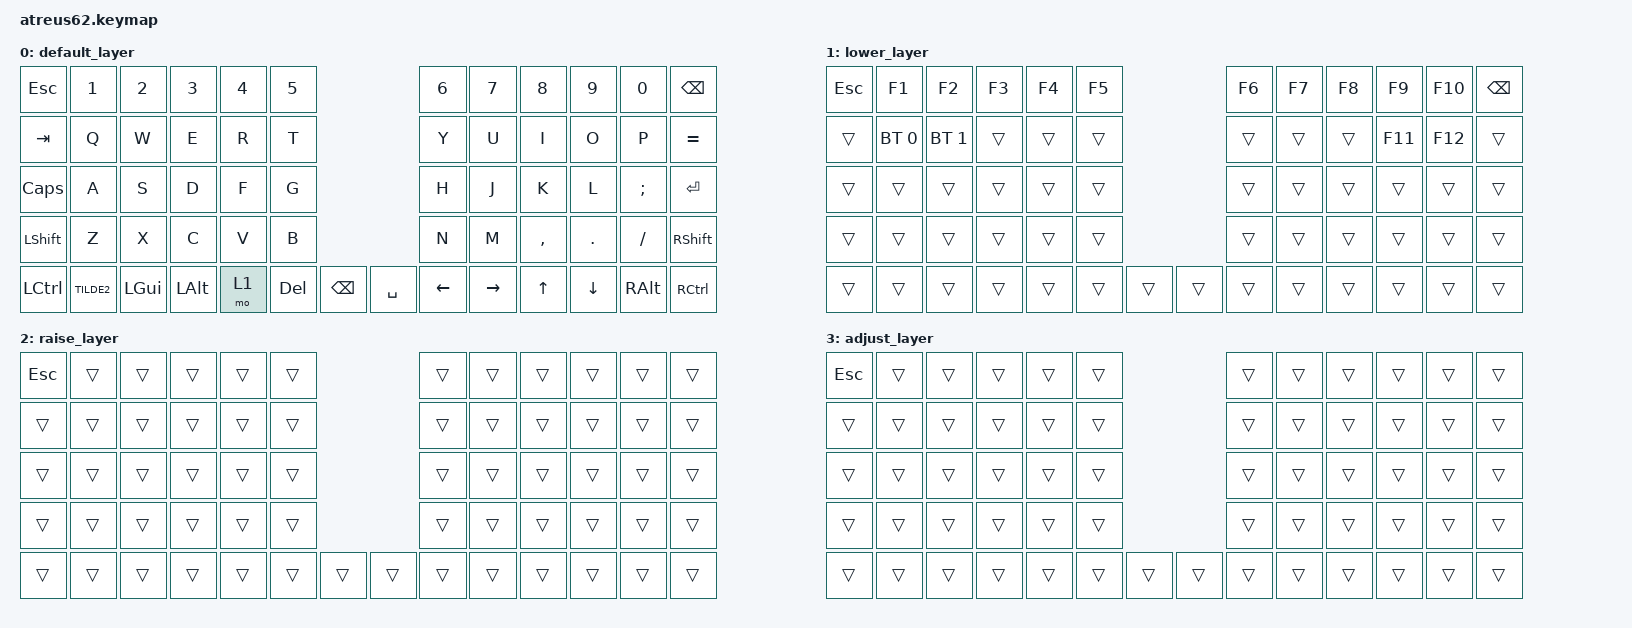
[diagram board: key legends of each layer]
/*
 * Copyright (c) 2020 The ZMK Contributors
 *
 * SPDX-License-Identifier: MIT
 */

#include <behaviors.dtsi>
#include <dt-bindings/zmk/keys.h>
#include <dt-bindings/zmk/bt.h>

/ {
        keymap {
                compatible = "zmk,keymap";

                default_layer {
// -------------------------------------------------------------------------------------
// |   ESC   |    1    |    2    |    3   |    4   |    5   |                             |    6   |    7   |    8   |    9   |    0   |  BKSP  |
// |   TAB   |    Q    |    W    |    E   |    R   |    T   |                             |    Y   |    U   |    I   |    O   |    P   |   =    |
// |  CAPS   |    A    |    S    |    D   |    F   |    G   |                             |    H   |    J   |    K   |    L   |    ;   |  ENTER |
// |  LSHFT  |    Z    |    X    |    C   |    V   |    B   |                             |    N   |    M   |    ,   |    .   |    /   |  RSHFT |
// |  CTRL   |    ~    |   LGUI  |   ALT  |    MO  |   DEL  |   | BSPACE  |   |SPACE  |   |  LEFT  |   RGHT |   UP   |   DOWN |  RALT  |   RCTL |
                        bindings = <
   &kp ESC     &kp 1      &kp 2    &kp 3    &kp 4    &kp 5                                  &kp 6    &kp 7     &kp 8    &kp 9    &kp 0      &kp BSPC
   &kp TAB     &kp Q      &kp W    &kp E    &kp R    &kp T                                  &kp Y    &kp U     &kp I    &kp O    &kp P      &kp EQUAL
   &kp CLCK    &kp A      &kp S    &kp D    &kp F    &kp G                                  &kp H    &kp J     &kp K    &kp L    &kp SEMI   &kp ENTER
   &kp LSHFT   &kp Z      &kp X    &kp C    &kp V    &kp B                                  &kp N    &kp M     &kp CMMA &kp DOT  &kp FSLH   &kp RSHFT
   &kp LCTL    &kp TILDE2 &kp LGUI &kp LALT &mo 1    &kp DEL     &kp BSPC     &kp SPACE     &kp LEFT &kp RIGHT &kp UP   &kp DOWN &kp RALT   &kp RCTL 
                        >;
                };

                lower_layer {
// -------------------------------------------------------------------------------------
// |   ESC   |    F1   |   F2    |   F3   |   F4   |   F5   |                             |   F6   |   F7   |   F8   |   F9   |   F10  |  BKSP  |
// |   TAB   |    BT1  |    BT2  |    E   |    R   |    T   |                             |    Y   |    U   |    I   |   F11  |   F12  |   DEL  |
// |  CAPS   |    A    |    S    |    D   |    F   |    G   |                             |    H   |    J   |    K   |    L   |    ;   |  ENTER |
// |  LSHFT  |    Z    |    X    |    C   |    V   |    B   |                             |    N   |    M   |    ,   |    .   |    /   |  RSHFT |
// |  CTRL   |    ~    |   LGUI  |   ALT  |    MO  |   DEL  |   | BSPACE  |   |SPACE  |   |  LEFT  |   RGHT |   UP   |   DOWN |  RALT  |   RCTL |
                        bindings = <
   &kp ESC &kp F1        &kp F2       &kp F3    &kp F4   &kp F5                              &kp F6    &kp F7     &kp F8  &kp F9  &kp F10  &kp BSPC
   &trans  &bt BT_SEL 0  &bt BT_SEL 1 &trans    &trans   &trans                              &trans    &trans     &trans  &kp F11 &kp F12  &trans
   &trans  &trans        &trans       &trans    &trans   &trans                              &trans    &trans     &trans  &trans  &trans   &trans
   &trans  &trans        &trans       &trans    &trans   &trans                              &trans    &trans     &trans  &trans  &trans   &trans
   &trans  &trans        &trans       &trans    &trans   &trans    &trans   &trans           &trans    &trans     &trans  &trans  &trans   &trans
                        >;
                };

                raise_layer {
// -------------------------------------------------------------------------------------
// |   ESC   |        |        |        |        |        |                             |        |        |        |        |        |        |
// |         |        |        |        |        |        |                             |        |        |        |        |        |        |
// |         |        |        |        |        |        |                             |        |        |        |        |        |        |
// |         |        |        |        |        |        |                             |        |        |        |        |        |        |
// |         |        |        |        |        |        |   |         |   |       |   |        |        |        |        |        |        |
                        bindings = <
   &kp ESC &trans        &trans       &trans    &trans   &trans                              &trans    &trans     &trans  &trans  &trans   &trans
   &trans  &trans        &trans       &trans    &trans   &trans                              &trans    &trans     &trans  &trans  &trans   &trans
   &trans  &trans        &trans       &trans    &trans   &trans                              &trans    &trans     &trans  &trans  &trans   &trans
   &trans  &trans        &trans       &trans    &trans   &trans                              &trans    &trans     &trans  &trans  &trans   &trans
   &trans  &trans        &trans       &trans    &trans   &trans    &trans   &trans           &trans    &trans     &trans  &trans  &trans   &trans
                        >;
                };

                adjust_layer {
// -------------------------------------------------------------------------------------
// |   ESC   |        |        |        |        |        |                             |        |        |        |        |        |        |
// |         |        |        |        |        |        |                             |        |        |        |        |        |        |
// |         |        |        |        |        |        |                             |        |        |        |        |        |        |
// |         |        |        |        |        |        |                             |        |        |        |        |        |        |
// |         |        |        |        |        |        |   |         |   |       |   |        |        |        |        |        |        |
                        bindings = <
   &kp ESC &trans        &trans       &trans    &trans   &trans                              &trans    &trans     &trans  &trans  &trans   &trans
   &trans  &trans        &trans       &trans    &trans   &trans                              &trans    &trans     &trans  &trans  &trans   &trans
   &trans  &trans        &trans       &trans    &trans   &trans                              &trans    &trans     &trans  &trans  &trans   &trans
   &trans  &trans        &trans       &trans    &trans   &trans                              &trans    &trans     &trans  &trans  &trans   &trans
   &trans  &trans        &trans       &trans    &trans   &trans    &trans   &trans           &trans    &trans     &trans  &trans  &trans   &trans
                        >;
                };
        };
};
